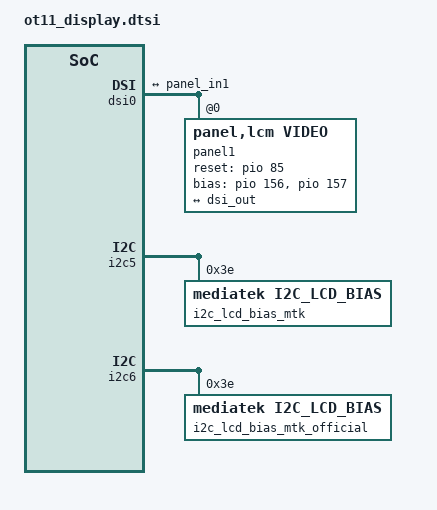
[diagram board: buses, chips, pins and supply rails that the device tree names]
// SPDX-License-Identifier: (GPL-2.0 OR MIT)
/*
 * Copyright (C) 2020 MediaTek Inc.
 */

/* display start */
&mtk_leds {
	compatible = "mediatek,disp-leds";

	backlight {
		/*Tab A9 code for AX6739A-6 by wenghailong at 20230418 start*/
		led_mode = <4>;
		gate_enable = <0>;
		/*Tab A9 code for AX6739A-53 by wenghailong at 20230507 start*/
		max-brightness = <2047>;
		/*Tab A9 code for AX6739A-53 by wenghailong at 20230507 END*/
		/*Tab A9 code for AX6739A-6 by wenghailong at 20230418 end*/
		pwm_config = <0 1 0 0 0>;
	};
};
/*Tab A9 code for SR-AX6739A-01-729 by hehaoran5 at 20230610 start*/
&pio {
	ctp_rst_pin_low: ctp_rst_pin_low {
		pins_cmd_dat {
			pinmux = <PINMUX_GPIO155__FUNC_GPIO155>;
			slew-rate = <1>;
			output-low;
		};
	};
	ctp_rst_pin_high: ctp_rst_pin_high {
		pins_cmd_dat {
			pinmux = <PINMUX_GPIO155__FUNC_GPIO155>;
			slew-rate = <1>;
			output-high;
		};
	};
};
/*Tab A9 code for SR-AX6739A-01-729 by hehaoran5 at 20230610 end*/
&dsi0 {
	status = "okay";
	#address-cells = <1>;
	#size-cells = <0>;
	/*Tab A9 code for SR-AX6739A-01-768 by yuli at 20230718 start*/
	panel1@0 {
		/*Tab A9 code for AX6739A-6 by wenghailong at 20230418 start*/
		compatible = "panel,lcm,video";
		reg = <0>;
		reset-gpios = <&pio 85 0>;//lcm rst
		/*Tab A9 code for AX6739A-53 by wenghailong at 20230507 start*/
		bias-gpios = <&pio 156 0>, <&pio 157 0>;//vsp.vsn
		/*Tab A9 code for AX6739A-53 by wenghailong at 20230507 end*/
		/*Tab A9 code for AX6739A-6 by wenghailong at 20230418 end*/
		pinctrl-names = "ctp_rst_pin_low","ctp_rst_pin_high";
		pinctrl-0 = <&ctp_rst_pin_low>;
		pinctrl-1 = <&ctp_rst_pin_high>;
		port {
			panel_in1: endpoint {
				remote-endpoint = <&dsi_out>;
			};
		};
	};
	/*Tab A9 code for SR-AX6739A-01-768 by yuli at 20230718 end*/

	ports {
		port {
			dsi_out: endpoint {
				remote-endpoint = <&panel_in1>;
			};
		};
	};
};

/*Tab A9 code for AX6739A-6 by wenghailong at 20230418 start*/
&i2c5 {
	i2c_lcd_bias_mtk:i2c_lcd_bias@3e {
		compatible = "mediatek,i2c_lcd_bias";
		reg = <0x3e>;
		id = <5>;
		status = "okay";
	};
};
/*Tab A9 code for AX6739A-6 by wenghailong at 20230418 end*/

/*Tab A9 code for AX6739A-6 by wenghailong at 20230418 start*/
&i2c6 {
	i2c_lcd_bias_mtk_official:i2c_lcd_bias@3e {
		compatible = "mediatek,i2c_lcd_bias";
		reg = <0x3e>;
		id = <5>;
		status = "okay";
	};
};
/*Tab A9 code for AX6739A-6 by wenghailong at 20230418 end*/
